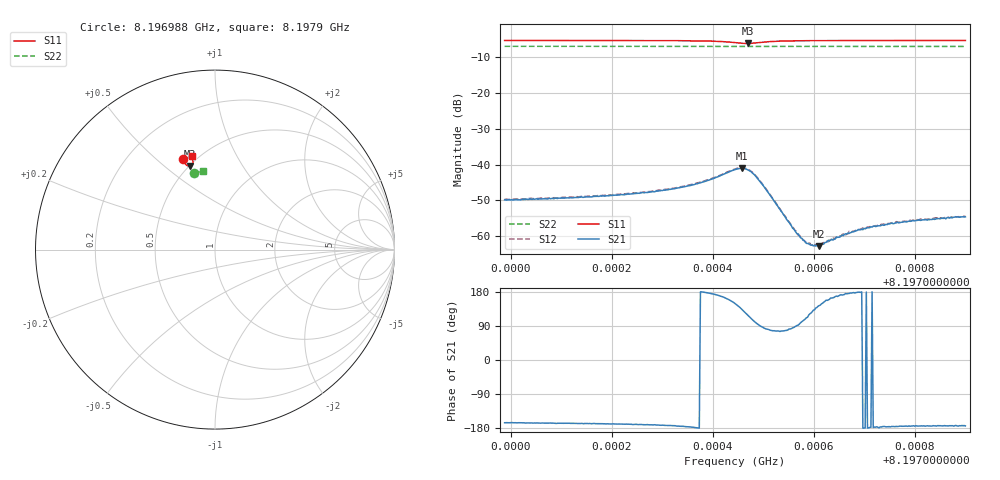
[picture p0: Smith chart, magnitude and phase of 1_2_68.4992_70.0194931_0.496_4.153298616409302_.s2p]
#  HZ  S  RI  R  50.00
! Rohde & Schwarz Vector Network Analyzer
! Rohde-Schwarz,ZNB20-2Port,1311601062101988,3.16
! Created: UTC 3/20/2024, 4:48:37 PM
! freq[Hz]  re:S11  im:S11  re:S21  im:S21  re:S12  im:S12  re:S22  im:S22
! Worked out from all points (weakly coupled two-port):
!   401 points, 8.196988 GHz to 8.1979 GHz, reference 50 ohm
!   highest |S21| = -41.04 dB at 8.197458 GHz (marker M1); lowest = -62.7 dB at 8.197611 GHz (marker M2)
!   lowest |S11| = -6.3 dB at 8.197469 GHz (marker M3), VSWR 2.90, Z = 25.1 + j30.7 ohm
!   |S11| at or under -10 dB: nowhere
!   |S22| runs from -7.1 to -7.0 dB; largest |S21 - S12| = 0.00043
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8.1969879e9  -0.18 0.5048  -0.00312 -0.000802  -0.00321 -0.000705  -0.1153 0.4289
8.1971407e9  -0.1678 0.5087  -0.00345 -0.000782  -0.00354 -0.000638  -0.1068 0.4307
8.1972251e9  -0.1603 0.5102  -0.00373 -0.000709  -0.00387 -0.00056  -0.1022 0.4318
8.1972935e9  -0.1526 0.5113  -0.00425 -0.000603  -0.0044 -0.000405  -0.0983 0.4326
8.19733e9  -0.1475 0.5114  -0.00469 -0.000454  -0.00482 -0.000271  -0.0961 0.4328
8.1973733e9  -0.1394 0.5101  -0.00552 -2.97e-05  -0.00561 0.000173  -0.0938 0.4331
8.1974075e9  -0.1303 0.5051  -0.0066 0.000948  -0.00667 0.00123  -0.0917 0.4333
8.197444e9  -0.1228 0.4851  -0.00729 0.00438  -0.00724 0.00475  -0.0895 0.4331
8.1974577e9  -0.1285 0.4728  -0.00615 0.00639  -0.00595 0.00673  -0.0891 0.4331
8.1974691e9  -0.1402 0.4661  -0.00404 0.00745  -0.00383 0.00775  -0.0887 0.4329
8.1974805e9  -0.1532 0.4675  -0.00178 0.00718  -0.0015 0.00741  -0.0886 0.433
8.1974942e9  -0.1635 0.476  3.34e-05 0.00575  0.000286 0.00584  -0.088 0.4336
8.1975672e9  -0.1596 0.506  -2.73e-05 0.00108  -5.73e-07 0.0011  -0.0838 0.4349
8.1975831e9  -0.157 0.5081  -0.000259 0.000788  -0.000231 0.000815  -0.0828 0.4352
8.1975968e9  -0.1551 0.5097  -0.000456 0.000599  -0.000419 0.000623  -0.0821 0.4354
8.1976105e9  -0.1532 0.5108  -0.000588 0.000436  -0.000596 0.000492  -0.0813 0.4354
8.1976561e9  -0.1476 0.5136  -0.00102 0.000158  -0.00104 0.000196  -0.0787 0.4357
8.1976858e9  -0.1446 0.5149  -0.00121 2.93e-05  -0.00122 5.7e-05  -0.077 0.4362
8.1977109e9  -0.1422 0.5157  -0.00132 -4.95e-05  -0.00137 1.9e-05  -0.0756 0.4364
8.1977496e9  -0.1385 0.517  -0.00149 -0.000109  -0.0015 -2.3e-05  -0.0735 0.4366
8.1978158e9  -0.1329 0.5187  -0.00169 -0.000174  -0.00173 -8.12e-05  -0.0697 0.4371
8.1979001e9  -0.1262 0.5205  -0.00186 -0.000199  -0.0019 -0.000162  -0.065 0.4377
